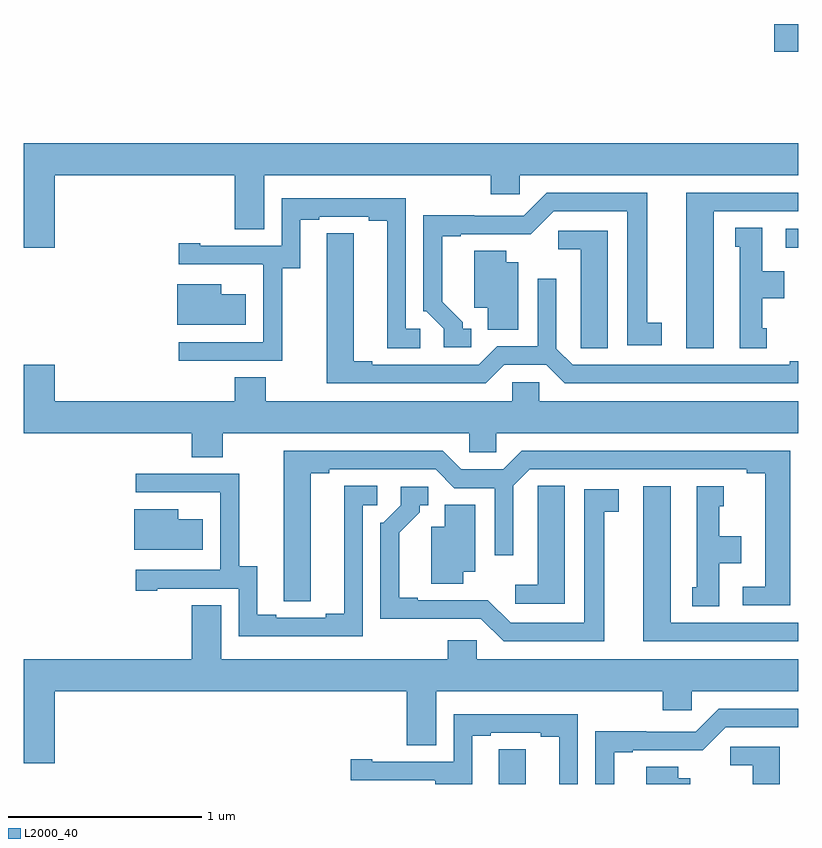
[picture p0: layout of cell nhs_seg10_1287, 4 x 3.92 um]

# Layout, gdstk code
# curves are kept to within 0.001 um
import gdstk
lib = gdstk.Library(unit=1e-6, precision=1e-09)
def R(c, l, rs):  # rectangles x0, y0, x1, y1
    for r in rs: c.add(gdstk.rectangle(r[:2], r[2:], *l))
def P(c, l, *ps):  # polygons
    for p in ps: c.add(gdstk.Polygon(p, *l))
L2000_40 = (2000, 40)

nhs_seg10_1287 = lib.new_cell('nhs_seg10_1287')
R(nhs_seg10_1287, L2000_40, [(180.936,1305.27,181,1305.366), (180.876,1306.282,181,1306.424)])
P(nhs_seg10_1287, L2000_40, [(177.16,1305.644),(178.091,1305.644),(178.091,1305.364),(178.243,1305.364),(178.243,1305.644),(179.411,1305.644),(179.411,1305.546),(179.562,1305.546),(179.562,1305.644),(181,1305.644),(181,1305.808),(177,1305.808),(177,1305.27),(177.16,1305.27)],
  [(180.562,1305.456),(181,1305.456),(181,1305.552),(180.422,1305.552),(180.422,1304.751),(180.562,1304.751)],
  [(179.311,1304.85),(179.266,1304.85),(179.266,1304.885),(179.161,1304.99),(179.161,1305.327),(179.257,1305.327),(179.257,1305.339),(179.618,1305.338),(179.736,1305.456),(180.116,1305.456),(180.116,1304.766),(180.295,1304.766),(180.295,1304.882),(180.22,1304.882),(180.22,1305.552),(179.7,1305.552),(179.583,1305.435),(179.327,1305.435),(179.327,1305.437),(179.064,1305.437),(179.064,1304.94),(179.079,1304.94),(179.169,1304.85),(179.169,1304.754),(179.311,1304.754)],
  [(178.335,1305.163),(178.429,1305.163),(178.429,1305.414),(178.525,1305.414),(178.525,1305.429),(178.781,1305.429),(178.781,1305.409),(178.877,1305.409),(178.877,1304.749),(179.047,1304.749),(179.047,1304.85),(178.974,1304.85),(178.974,1305.525),(178.332,1305.525),(178.332,1305.279),(177.913,1305.279),(177.913,1305.292),(177.801,1305.292),(177.801,1305.183),(178.235,1305.183),(178.235,1305.182),(178.236,1305.182),(178.236,1304.781),(177.801,1304.781),(177.801,1304.685),(178.335,1304.685)],
  [(180.838,1304.853),(180.814,1304.853),(180.814,1305.008),(180.928,1305.008),(180.928,1305.148),(180.814,1305.148),(180.814,1305.371),(180.674,1305.371),(180.674,1305.273),(180.698,1305.273),(180.698,1304.751),(180.838,1304.751)],
  [(180.016,1305.357),(179.76,1305.357),(179.76,1305.26),(179.876,1305.26),(179.876,1304.857),(179.877,1304.857),(179.877,1304.749),(180.016,1304.749)],
  [(179.481,1304.664),(179.699,1304.664),(179.795,1304.568),(181,1304.568),(181,1304.684),(180.956,1304.684),(180.956,1304.664),(179.835,1304.664),(179.751,1304.748),(179.751,1305.109),(179.655,1305.109),(179.655,1304.76),(179.445,1304.76),(179.349,1304.664),(178.801,1304.664),(178.801,1304.684),(178.705,1304.684),(178.705,1305.344),(178.566,1305.344),(178.565,1304.568),(179.385,1304.568)],
  [(179.554,1305.193),(179.491,1305.193),(179.491,1305.254),(179.327,1305.254),(179.327,1304.96),(179.396,1304.96),(179.396,1304.845),(179.554,1304.845)],
  [(178.147,1305.028),(178.021,1305.028),(178.021,1305.079),(177.794,1305.079),(177.794,1304.87),(178.147,1304.87)],
  [(179.301,1304.214),(179.439,1304.214),(179.439,1304.312),(181,1304.312),(181,1304.476),(179.661,1304.476),(179.661,1304.574),(179.523,1304.574),(179.523,1304.476),(178.251,1304.476),(178.251,1304.6),(178.091,1304.6),(178.091,1304.476),(177.16,1304.476),(177.16,1304.665),(177,1304.665),(177,1304.312),(177.869,1304.312),(177.869,1304.188),(178.029,1304.188),(178.029,1304.312),(179.301,1304.312)],
  [(180.958,1304.22),(179.573,1304.22),(179.477,1304.124),(179.259,1304.124),(179.163,1304.22),(178.343,1304.22),(178.344,1303.444),(178.483,1303.444),(178.483,1304.104),(178.579,1304.104),(178.579,1304.124),(179.127,1304.124),(179.223,1304.028),(179.433,1304.028),(179.433,1303.68),(179.529,1303.68),(179.529,1304.04),(179.613,1304.124),(180.734,1304.124),(180.734,1304.104),(180.83,1304.104),(180.83,1303.518),(180.714,1303.518),(180.714,1303.422),(180.958,1303.422)],
  [(178.752,1303.938),(178.825,1303.938),(178.825,1304.039),(178.655,1304.039),(178.655,1303.379),(178.559,1303.379),(178.559,1303.359),(178.303,1303.359),(178.303,1303.374),(178.207,1303.374),(178.207,1303.625),(178.113,1303.625),(178.113,1304.103),(177.579,1304.103),(177.579,1304.007),(178.013,1304.007),(178.013,1304.006),(178.014,1304.006),(178.014,1303.605),(177.579,1303.605),(177.579,1303.497),(177.691,1303.497),(177.691,1303.509),(178.11,1303.509),(178.11,1303.263),(178.752,1303.263)],
  [(179.794,1304.039),(179.655,1304.039),(179.655,1303.931),(179.654,1303.931),(179.654,1303.528),(179.538,1303.528),(179.538,1303.431),(179.794,1303.431)],
  [(181,1303.332),(180.34,1303.332),(180.34,1304.038),(180.2,1304.038),(180.2,1303.236),(181,1303.236)],
  [(180.592,1303.64),(180.706,1303.64),(180.706,1303.78),(180.592,1303.78),(180.592,1303.935),(180.616,1303.935),(180.616,1304.038),(180.476,1304.038),(180.476,1303.515),(180.452,1303.515),(180.452,1303.417),(180.592,1303.417)],
  [(179.998,1303.906),(180.073,1303.906),(180.073,1304.022),(179.894,1304.022),(179.894,1303.332),(179.514,1303.332),(179.396,1303.45),(179.035,1303.449),(179.035,1303.462),(178.939,1303.462),(178.939,1303.798),(179.044,1303.903),(179.044,1303.938),(179.089,1303.938),(179.089,1304.034),(178.947,1304.034),(178.947,1303.938),(178.857,1303.848),(178.842,1303.848),(178.842,1303.352),(179.361,1303.353),(179.478,1303.236),(179.998,1303.236)],
  [(179.269,1303.595),(179.332,1303.595),(179.332,1303.943),(179.174,1303.943),(179.174,1303.828),(179.105,1303.828),(179.105,1303.534),(179.269,1303.534)],
  [(177.925,1303.867),(177.799,1303.867),(177.799,1303.918),(177.572,1303.918),(177.572,1303.709),(177.925,1303.709)],
  [(177.16,1302.98),(178.979,1302.98),(178.979,1302.7),(179.131,1302.7),(179.131,1302.98),(180.299,1302.98),(180.299,1302.882),(180.45,1302.882),(180.45,1302.98),(181,1302.98),(181,1303.144),(179.34,1303.144),(179.34,1303.242),(179.189,1303.242),(179.189,1303.144),(178.021,1303.144),(178.021,1303.424),(177.869,1303.424),(177.869,1303.144),(177,1303.144),(177,1302.606),(177.16,1302.606)],
  [(180.049,1302.663),(180.145,1302.663),(180.145,1302.675),(180.506,1302.674),(180.624,1302.792),(181,1302.792),(181,1302.888),(180.588,1302.888),(180.471,1302.771),(180.215,1302.771),(180.215,1302.773),(179.952,1302.773),(179.952,1302.5),(180.049,1302.5)],
  [(179.317,1302.75),(179.413,1302.75),(179.413,1302.765),(179.669,1302.765),(179.669,1302.745),(179.765,1302.745),(179.765,1302.5),(179.862,1302.5),(179.862,1302.861),(179.22,1302.861),(179.22,1302.615),(178.801,1302.615),(178.801,1302.628),(178.689,1302.628),(178.689,1302.519),(179.123,1302.519),(179.123,1302.518),(179.124,1302.518),(179.124,1302.5),(179.317,1302.5)],
  [(180.904,1302.693),(180.648,1302.693),(180.648,1302.596),(180.764,1302.596),(180.764,1302.5),(180.904,1302.5)],
  [(179.593,1302.68),(179.454,1302.68),(179.454,1302.572),(179.453,1302.572),(179.453,1302.5),(179.593,1302.5)],
  [(180.442,1302.529),(180.379,1302.529),(180.379,1302.59),(180.215,1302.59),(180.215,1302.5),(180.442,1302.5)])

lib.write_gds('nhs_seg10_1287.gds')
